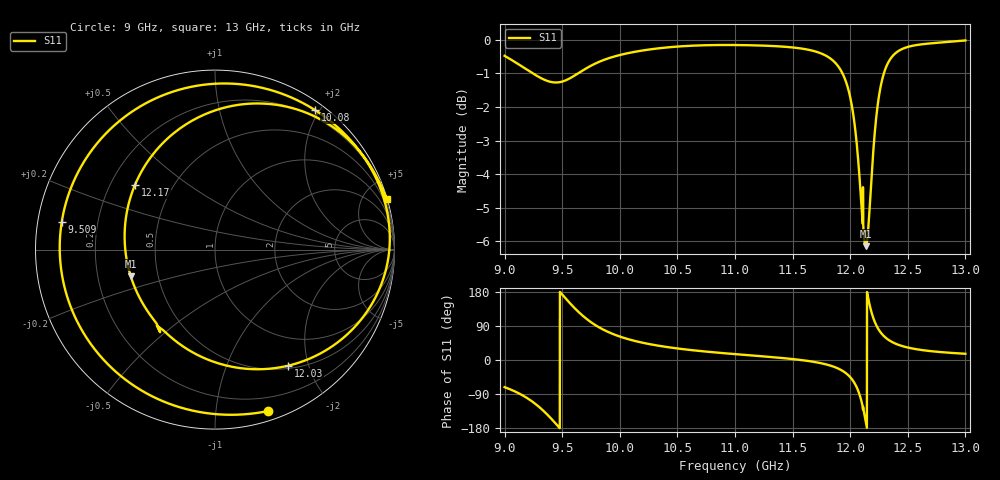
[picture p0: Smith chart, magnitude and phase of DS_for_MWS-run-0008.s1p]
! TOUCHSTONE file generated by CST DESIGN STUDIO
! Date and time: Tue Feb  4 14:34:10 2025
! Project name: C:\Work\MatlabApps\UnitCellOptimizationMatlab\CST\unitcell.cst
! Tree item: Tasks\Sweep1\SPara1\S-Parameters
! Header version: 2024
! Port assignment regex: !\s*Touchstone port\s*([0-9]+)\s*=\s*(CST MWS port|CST DES external port|CST DES block port)\s*(.+)\s* \(\"(.*)\"\)(\s*mode\s*([0-9]+))?.*
! Touchstone port assignment:
! Touchstone port 1 = CST DES external port 1 ("")
# GHz S MA R 50
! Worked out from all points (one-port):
!   4001 points, 9 GHz to 13 GHz, reference 50 ohm
!   lowest |S11| = -6.2 dB at 12.13 GHz (marker M1), VSWR 2.94, Z = 17.4 - j6.82 ohm
!   |S11| at or under -10 dB: nowhere
!   S11 on the Smith chart (normalised r, x): 9 GHz: 0.08, -1.38; 9.509 GHz: 0.07, +0.09; 10.08 GHz: 0.11, +1.95; 12.03 GHz: 0.54, -1.69; 12.17 GHz: 0.30, +0.32; 13 GHz: 0.04, +6.94
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9  0.9469 -71.7
9.164  0.9099 -94.7
9.28  0.8841 -119.0
9.408  0.8653 -155.9
9.5  0.8668 172.7
9.509  0.8678 169.6
9.614  0.8863 135.0
9.712  0.9078 108.3
9.854  0.9327 80.6
10  0.9496 61.8
10.081  0.9565 54.2
10.5  0.9776 30.5
11  0.9828 15.5
11.5  0.9747 2.5
11.847  0.9328 -16.6
11.936  0.8894 -29.1
12  0.8214 -45.2
12.031  0.765 -57.7
12.086  0.6065 -95.9
12.11  0.5332 -127.4
12.135  0.4924 -162.4
12.172  0.5731 141.1
12.211  0.7197 102.3
12.255  0.8353 76.7
12.299  0.8989 61.2
12.351  0.9381 49.6
12.5  0.9764 32.9
13  0.9983 16.4
